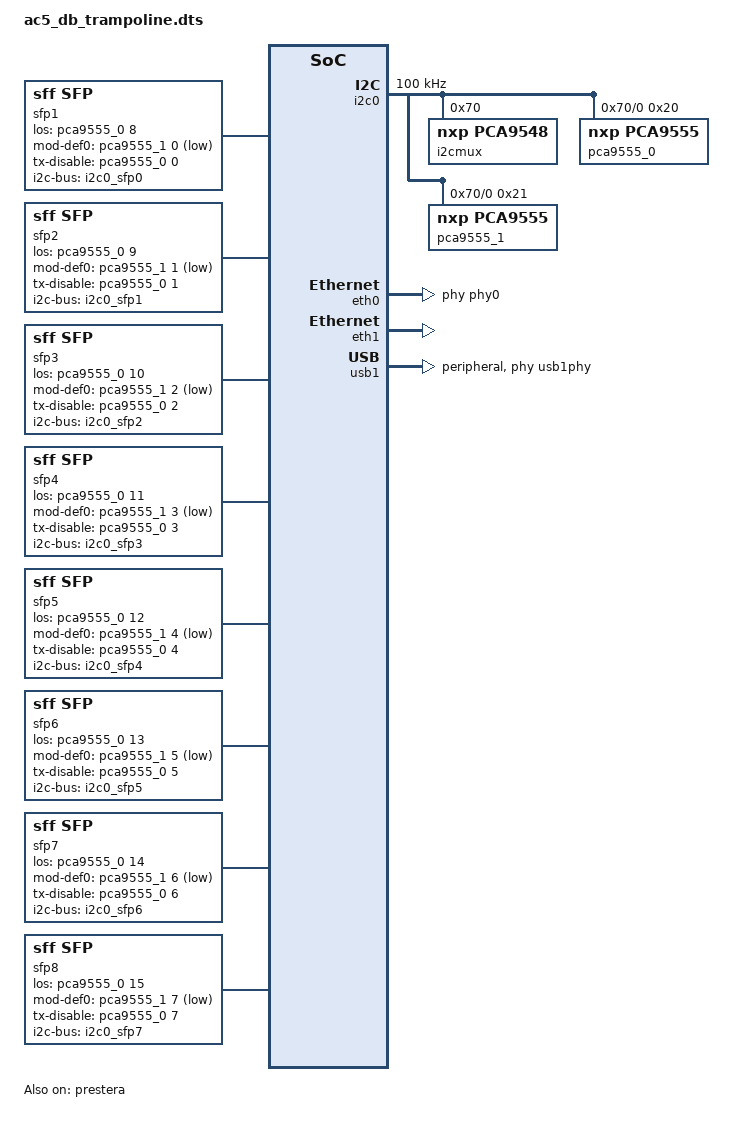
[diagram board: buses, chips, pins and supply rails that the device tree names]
// SPDX-License-Identifier: (GPL-2.0+ OR MIT)
/*
 * Device Tree For AC5_db.
 *
 * Copyright (C) 2021 Marvell
 *
 */
/*
 * Device Tree file for Marvell Alleycat 5 development board
 * This board file supports the B configuration of the board
 */
#include "ac5.dtsi"

/ {
	sfp1: sfp-1 {
		compatible = "sff,sfp";
		i2c-bus = <&i2c0_sfp0>;
		maximum-power-milliwatt = <2000>;
		los-gpio = <&pca9555_0 8 GPIO_ACTIVE_HIGH>;
		mod-def0-gpio = <&pca9555_1 0 GPIO_ACTIVE_LOW>;
		tx-disable-gpio = <&pca9555_0 0 GPIO_ACTIVE_HIGH>;

	};

	sfp2: sfp-2 {
		compatible = "sff,sfp";
		i2c-bus = <&i2c0_sfp1>;
		los-gpio = <&pca9555_0 9 GPIO_ACTIVE_HIGH>;
		mod-def0-gpio = <&pca9555_1 1 GPIO_ACTIVE_LOW>;
		tx-disable-gpio = <&pca9555_0 1 GPIO_ACTIVE_HIGH>;
		maximum-power-milliwatt = <2000>;
	};

	sfp3: sfp-3 {
		compatible = "sff,sfp";
		i2c-bus = <&i2c0_sfp2>;
		los-gpio = <&pca9555_0 10 GPIO_ACTIVE_HIGH>;
		mod-def0-gpio = <&pca9555_1 2 GPIO_ACTIVE_LOW>;
		tx-disable-gpio = <&pca9555_0 2 GPIO_ACTIVE_HIGH>;
		maximum-power-milliwatt = <2000>;
	};

	sfp4: sfp-4 {
		compatible = "sff,sfp";
		i2c-bus = <&i2c0_sfp3>;
		los-gpio = <&pca9555_0 11 GPIO_ACTIVE_HIGH>;
		mod-def0-gpio = <&pca9555_1 3 GPIO_ACTIVE_LOW>;
		tx-disable-gpio = <&pca9555_0 3 GPIO_ACTIVE_HIGH>;
		maximum-power-milliwatt = <2000>;
	};

	sfp5: sfp-5 {
		compatible = "sff,sfp";
		i2c-bus = <&i2c0_sfp4>;
		los-gpio = <&pca9555_0 12 GPIO_ACTIVE_HIGH>;
		mod-def0-gpio = <&pca9555_1 4 GPIO_ACTIVE_LOW>;
		tx-disable-gpio = <&pca9555_0 4 GPIO_ACTIVE_HIGH>;
		maximum-power-milliwatt = <2000>;
	};

	sfp6: sfp-6 {
		compatible = "sff,sfp";
		i2c-bus = <&i2c0_sfp5>;
		los-gpio = <&pca9555_0 13 GPIO_ACTIVE_HIGH>;
		mod-def0-gpio = <&pca9555_1 5 GPIO_ACTIVE_LOW>;
		tx-disable-gpio = <&pca9555_0 5 GPIO_ACTIVE_HIGH>;
		maximum-power-milliwatt = <2000>;
	};

	sfp7: sfp-7 {
		compatible = "sff,sfp";
		i2c-bus = <&i2c0_sfp6>;
		los-gpio = <&pca9555_0 14 GPIO_ACTIVE_HIGH>;
		mod-def0-gpio = <&pca9555_1 6 GPIO_ACTIVE_LOW>;
		tx-disable-gpio = <&pca9555_0 6 GPIO_ACTIVE_HIGH>;
		maximum-power-milliwatt = <2000>;
	};

	sfp8: sfp-8 {
		compatible = "sff,sfp";
		i2c-bus = <&i2c0_sfp7>;
		los-gpio = <&pca9555_0 15 GPIO_ACTIVE_HIGH>;
		mod-def0-gpio = <&pca9555_1 7 GPIO_ACTIVE_LOW>;
		tx-disable-gpio = <&pca9555_0 7 GPIO_ACTIVE_HIGH>;
		maximum-power-milliwatt = <2000>;
	};

};

&i2c0 {
	status = "okay";
	clock-frequency = <100000>;
	i2cmux@70 {
		compatible = "nxp,pca9548";
		reg = <0x70>;
		#address-cells = <1>;
		#size-cells = <0>;
	i2c-mux-idle-disconnect;

		i2c0_sfp0: i2c@0 {
			reg = <0>;
			#address-cells = <1>;
			#size-cells = <0>;

			pca9555_0: pca9555@20 {
				compatible = "nxp,pca9555";
				gpio-controller;
				#gpio-cells = <2>;
				reg = <0x20>;
			};

			pca9555_1: pca9555@21 {
				compatible = "nxp,pca9555";
				gpio-controller;
				#gpio-cells = <2>;
				reg = <0x21>;
			};

		};
		i2c0_sfp1: i2c@1 {
			reg = <1>;
			#address-cells = <1>;
			#size-cells = <0>;
		};
		i2c0_sfp2: i2c@2 {
			reg = <2>;
			#address-cells = <1>;
			#size-cells = <0>;
		};
		i2c0_sfp3: i2c@3 {
			reg = <3>;
			#address-cells = <1>;
			#size-cells = <0>;
		};
		i2c0_sfp4: i2c@4 {
			reg = <4>;
			#address-cells = <1>;
			#size-cells = <0>;
		};
		i2c0_sfp5: i2c@5 {
			reg = <5>;
			#address-cells = <1>;
			#size-cells = <0>;
		};
		i2c0_sfp6: i2c@6 {
			reg = <6>;
			#address-cells = <1>;
			#size-cells = <0>;
		};
		i2c0_sfp7: i2c@7 {
			reg = <7>;
			#address-cells = <1>;
			#size-cells = <0>;
		};
	};
};

&eth0 {
	status = "okay";
	phy = <&phy0>;
};

&eth1 {
	status = "okay";
};

&usb1 {
	compatible = "chipidea,usb2";
	phys = <&usb1phy>;
	phy-names = "usb-phy";
	dr_mode = "peripheral";
};

&prestera {
	compatible = "marvell,prestera";
	status = "okay";
	reg = <0x0 0x7F900000 0x0 0x40000>;
	ports {
		port1 {
			prestera,port-num = <1>;
			sfp = <&sfp1>;
		};
		port2 {
			prestera,port-num = <2>;
			sfp = <&sfp2>;
		};

		port3 {
			prestera,port-num = <3>;
			sfp = <&sfp3>;
		};

		port4 {
			prestera,port-num = <4>;
			sfp = <&sfp4>;
		};

		port5 {
			prestera,port-num = <5>;
			sfp = <&sfp5>;
		};

		port6 {
			prestera,port-num = <6>;
			sfp = <&sfp6>;
		};

		port7 {
			prestera,port-num = <7>;
			sfp = <&sfp7>;
		};

		port8 {
			prestera,port-num = <8>;
			sfp = <&sfp8>;
		};

	};
};

&sfp1 {
	status = "okay";
};

&sfp2 {
	status = "okay";
};

&sfp3 {
	status = "okay";
};

&sfp4 {
	status = "okay";
};

&sfp5 {
	status = "okay";
};

&sfp6 {
	status = "okay";
};

&sfp7 {
	status = "okay";
};

&sfp8 {
	status = "okay";
};

